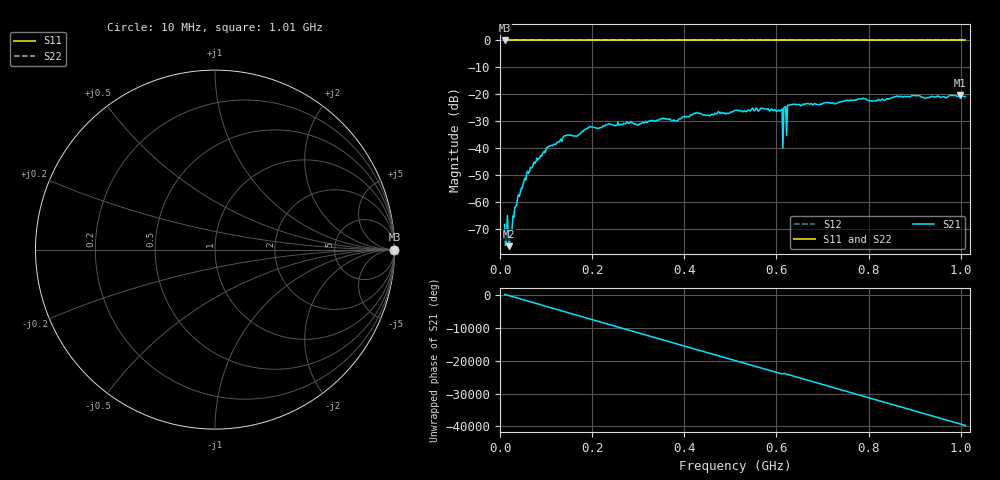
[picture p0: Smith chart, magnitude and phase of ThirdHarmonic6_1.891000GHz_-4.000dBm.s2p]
! 8/16/2025 10:49:54 PM
! C:\ANRITSUVNA\TEMP\TEMP.S2P
! CHANNEL.1
! TR.MEASUREMENT
! RAW.DATA
! RF.CORRECTION.OFF
! AVERAGING.OFF
! IF.BANDWIDTH: 5KHZ
! SWEEPTYPE:  FREQ.SWEEP(Linear)
! Reference Plane Port Info
! PORT:  PORT1  PORT2
! DISTANCE:  0  m  0  m
! TIME:  0  s  0  s
! PHASE.OFFSET:  0  deg.  0  deg.
! LOSS:  0  dB  0  dB
! REF.LOSS:  0  dB  0  dB
! REF.FREQ:  0  Hz  0  Hz
! Power Info
! POWER:  -20  dBm  -20  dBm
! EFF.POWER:  -20  dBm  -20  dBm
! SOURCE.ATTEN:  0  dB  0  dB
! TEST.ATTEN:  0  dB  0  dB
# GHZ S RI R 50.0
! FREQ.GHZ  S11RE  S11IM  S21RE  S21IM  S12RE  S12IM  S22RE  S22IM
!; PortSelection: Port_12
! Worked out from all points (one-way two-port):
!   501 points, 10 MHz to 1.01 GHz, reference 50 ohm
!   highest |S21| = -20.35 dB at 998 MHz (marker M1); lowest = -76.5 dB at 20 MHz (marker M2)
!   lowest |S11| = 0.0 dB at 10 MHz (marker M3)
!   |S11| at or under -10 dB: nowhere
!   |S22| runs from 0.0 to 0.0 dB; largest |S21 - S12| = 1.1
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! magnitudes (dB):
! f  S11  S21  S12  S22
! 10 MHz  0.0  -68.4  0.0  0.0
! 16 MHz  0.0  -65.1  0.0  0.0
! 20 MHz  0.0  -76.5  0.0  0.0
! 22 MHz  0.0  -70.6  0.0  0.0
! 36 MHz  0.0  -61.4  0.0  0.0
! 50 MHz  0.0  -53.3  0.0  0.0
! 76 MHz  0.0  -45.7  0.0  0.0
! 142 MHz  0.0  -35.5  0.0  0.0
! 178 MHz  0.0  -33.8  0.0  0.0
! 344 MHz  0.0  -29.6  0.0  0.0
! 510 MHz  0.0  -26.0  0.0  0.0
! 608 MHz  0.0  -26.2  0.0  0.0
! 610 MHz  0.0  -25.9  0.0  0.0
! 616 MHz  0.0  -25.0  0.0  0.0
! 618 MHz  0.0  -24.9  0.0  0.0
! 620 MHz  0.0  -24.6  0.0  0.0
! 626 MHz  0.0  -24.1  0.0  0.0
! 628 MHz  0.0  -24.0  0.0  0.0
! 678 MHz  0.0  -23.9  0.0  0.0
! 844 MHz  0.0  -21.8  0.0  0.0
! 998 MHz  0.0  -20.3  0.0  0.0
! 1.01 GHz  0.0  -20.8  0.0  0.0
